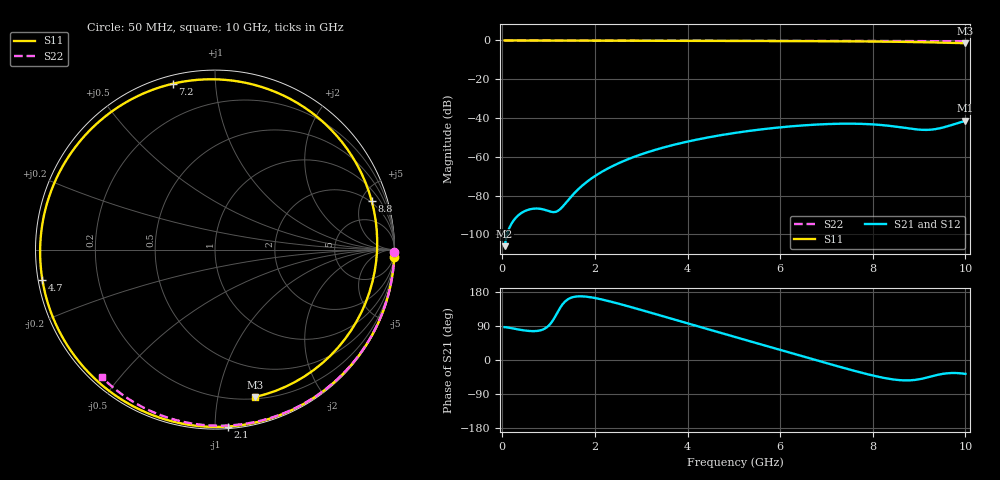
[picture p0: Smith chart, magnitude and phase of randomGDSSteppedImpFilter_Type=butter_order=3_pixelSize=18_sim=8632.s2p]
! freq	dB(S11)	phase(S11)	dB(S12)	phase(S12)
!  dB(S21)	phase(S21)	dB(S22)	phase(S22)
!S-par simulation data
#  GHz  S  DB  R 50
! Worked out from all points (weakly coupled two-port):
!   200 points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, 50 MHz to 10 GHz, reference 50 ohm
!   highest |S21| = -41.44 dB at 10 GHz (marker M1); lowest = -106.1 dB at 50 MHz (marker M2)
!   lowest |S11| = -1.4 dB at 10 GHz (marker M3), VSWR 12.41, Z = 10.8 - j64.1 ohm
!   |S11| at or under -10 dB: nowhere
!   |S22| runs from -0.4 to 0.0 dB; largest |S21 - S12| = 0
!   S11 on the Smith chart (normalised r, x): 50 MHz: 1, -51; 2.1 GHz: 0.01, -1.07; 4.7 GHz: 0.01, -0.09; 7.2 GHz: 0.04, +0.78; 8.8 GHz: 1.82, +6.02; 10 GHz: 0.22, -1.28
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0.05  -0.01 -2.2  -106.10 86.8  -106.10 86.8  -0.00 -0.8
0.7  -0.03 -30.4  -86.71 76.2  -86.71 76.2  -0.01 -10.6
1.1  -0.06 -47.1  -88.53 105.9  -88.53 105.9  -0.02 -16.6
1.5  -0.08 -63.2  -80.19 165.0  -80.19 165.0  -0.03 -22.5
1.75  -0.09 -72.9  -74.39 167.8  -74.39 167.8  -0.03 -26.2
2.1  -0.10 -85.9  -68.45 161.1  -68.45 161.1  -0.04 -31.3
2.7  -0.12 -107.1  -61.40 142.4  -61.40 142.4  -0.05 -40.0
3.4  -0.15 -130.1  -55.75 118.0  -55.75 118.0  -0.07 -49.9
4.05  -0.18 -150.3  -51.91 95.0  -51.91 95.0  -0.08 -58.9
4.7  -0.21 -170.0  -48.93 72.2  -48.93 72.2  -0.10 -67.6
5.05  -0.23 179.4  -47.60 59.9  -47.60 59.9  -0.11 -72.2
5.9  -0.29 152.5  -45.06 30.2  -45.06 30.2  -0.14 -83.1
6.7  -0.36 124.3  -43.50 2.2  -43.50 2.2  -0.18 -93.1
7.2  -0.41 104.3  -43.00 -15.1  -43.00 -15.1  -0.21 -99.1
7.8  -0.50 76.5  -43.06 -34.9  -43.06 -34.9  -0.25 -106.2
8.1  -0.57 60.7  -43.45 -43.7  -43.45 -43.7  -0.27 -109.8
8.35  -0.63 46.3  -44.01 -49.6  -44.01 -49.6  -0.29 -112.7
8.8  -0.78 17.3  -45.45 -53.6  -45.45 -53.6  -0.32 -117.8
9.1  -0.91 -4.1  -46.13 -48.4  -46.13 -48.4  -0.35 -121.3
9.35  -1.04 -23.0  -45.73 -40.7  -45.73 -40.7  -0.38 -124.1
9.7  -1.23 -50.7  -43.63 -34.3  -43.63 -34.3  -0.41 -128.1
10  -1.40 -74.9  -41.44 -36.6  -41.44 -36.6  -0.44 -131.4
